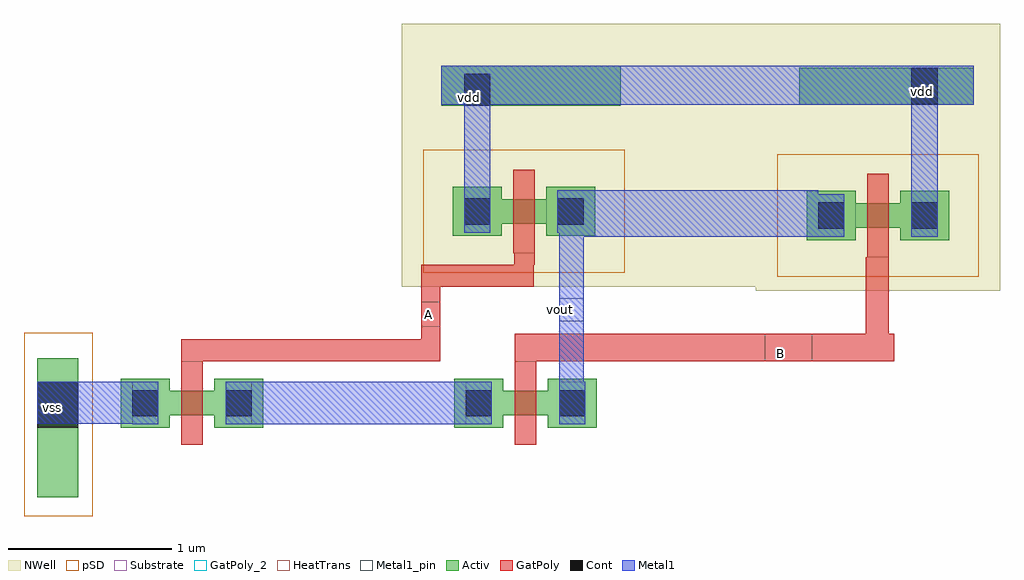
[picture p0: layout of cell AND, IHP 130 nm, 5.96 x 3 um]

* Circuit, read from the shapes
.subckt AND A B vdd vout vss
XM1 n1 A vss vss sg13_lv_nmos w=0.15u l=0.13u
XM2 vout B n1 vss sg13_lv_nmos w=0.15u l=0.13u
XM3 vout A vdd vdd sg13_lv_pmos w=0.15u l=0.13u
XM4 vdd B vout vdd sg13_lv_pmos w=0.15u l=0.13u
.ends

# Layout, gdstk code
from math import pi, radians
import gdstk
lib = gdstk.Library(unit=1e-6, precision=5e-09)
def R(c, l, rs):  # rectangles x0, y0, x1, y1
    for r in rs: c.add(gdstk.rectangle(r[:2], r[2:], *l))
Activ = (1, 0)
GatPoly = (5, 0)
GatPoly_2 = (5, 2)
Cont = (6, 0)
Metal1 = (8, 0)
Metal1_pin = (8, 2)
pSD = (14, 0)
NWell = (31, 0)
Substrate = (40, 0)
HeatTrans = (51, 0)

nmos = lib.new_cell('nmos')
R(nmos, Activ, [(0,0,0.3,0.3), (0.57,0,0.87,0.3), (0,0.075,0.87,0.225)])
R(nmos, GatPoly, [(0.37,-0.105,0.5,0.405)])
R(nmos, GatPoly_2, [(0.37,-0.105,0.5,0.405)])
R(nmos, Cont, [(0.07,0.07,0.23,0.23), (0.64,0.07,0.8,0.23)])
R(nmos, Metal1, [(0.07,0.02,0.23,0.28), (0.64,0.02,0.8,0.28)])
R(nmos, Metal1_pin, [(0.07,0.02,0.23,0.28), (0.64,0.02,0.8,0.28)])
R(nmos, HeatTrans, [(0.37,-0.105,0.5,0.405)])
nmos.add(gdstk.Label('nmos', (0.435,0.15), layer=63, texttype=0))
nmos.add(gdstk.Label('nmos', (0.435,0.15), layer=51, texttype=0))

pmos = lib.new_cell('pmos')
R(pmos, Activ, [(0,0,0.3,0.3), (0.57,0,0.87,0.3), (0,0.075,0.87,0.225)])
R(pmos, GatPoly, [(0.37,-0.105,0.5,0.405), (0.37,-0.105,0.5,0.405)])
R(pmos, Cont, [(0.07,0.07,0.23,0.23), (0.64,0.07,0.8,0.23)])
R(pmos, Metal1, [(0.07,0.02,0.23,0.28), (0.07,0.02,0.23,0.28), (0.64,0.02,0.8,0.28), (0.64,0.02,0.8,0.28)])
R(pmos, pSD, [(-0.18,-0.225,1.05,0.525)])
R(pmos, NWell, [(-0.31,-0.31,1.18,0.61)])
R(pmos, Substrate, [(0.57,0,0.87,0.3)])
R(pmos, HeatTrans, [(0.37,-0.105,0.5,0.405)])
pmos.add(gdstk.Label('pmos', (0.435,0.15), layer=63, texttype=0))
pmos.add(gdstk.Label('pmos', (0.435,0.15), layer=51, texttype=0))

and_ = lib.new_cell('AND')
R(and_, Activ, [(0.795,-0.77,1.045,0.08), (3.26,1.62,4.355,1.865), (5.445,1.625,6.51,1.85)])
R(and_, GatPoly, [(1.675,0.06,3.255,0.195), (3.71,0.06,6.025,0.23), (3.14,0.195,3.255,0.65), (5.85,0.23,5.99,0.695), (3.255,0.515,3.825,0.65), (3.705,0.65,3.83,0.72)])
R(and_, GatPoly_2, [(5.235,0.06,5.525,0.23), (3.14,0.27,3.255,0.425)])
R(and_, Cont, [(0.795,-0.345,1.045,-0.065), (3.4,1.62,3.56,1.815), (6.13,1.625,6.29,1.85)])
R(and_, Metal1, [(2.105,-0.325,3.41,-0.065), (0.795,-0.32,1.375,-0.065), (3.98,-0.065,4.13,0.845), (4.13,0.82,5.56,1.105), (3.4,1.055,3.56,1.815), (6.13,1.08,6.29,1.85), (3.26,1.625,6.51,1.865)])
R(and_, Metal1_pin, [(0.795,-0.32,1.04,-0.065), (3.98,0.305,4.13,0.445), (3.4,1.62,3.56,1.815), (6.13,1.63,6.29,1.85)])
R(and_, pSD, [(0.715,-0.885,1.135,0.235)])
R(and_, NWell, [(3.02,0.515,6.67,2.12), (5.18,1.41,6.67,2.12), (3.02,1.435,4.51,2.01)])
and_.add(gdstk.Reference(nmos, (3.34,-0.345)))
and_.add(gdstk.Reference(nmos, (1.305,-0.345)))
and_.add(gdstk.Reference(pmos, (3.33,0.825)))
and_.add(gdstk.Reference(pmos, (6.36,1.1), rotation=pi))
and_.add(gdstk.Label('vout', (3.99,0.375), layer=8, texttype=2))
and_.add(gdstk.Label('vss', (0.89,-0.22), layer=8, texttype=2))
and_.add(gdstk.Label('vdd', (3.435,1.67), layer=8, texttype=2))
and_.add(gdstk.Label('vdd', (6.2,1.705), layer=8, texttype=2))
and_.add(gdstk.Label('A', (3.18,0.345), layer=5, texttype=2))
and_.add(gdstk.Label('B', (5.33,0.105), layer=5, texttype=2))

lib.write_gds('AND.gds')
